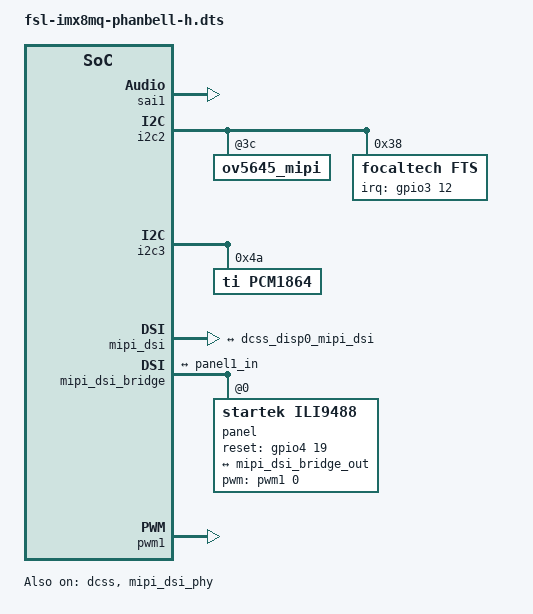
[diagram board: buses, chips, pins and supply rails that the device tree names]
/*
 * Copyright 2018 NXP
 *
 * This program is free software; you can redistribute it and/or
 * modify it under the terms of the GNU General Public License
 * as published by the Free Software Foundation; either version 2
 * of the License, or (at your option) any later version.
 *
 * This program is distributed in the hope that it will be useful,
 * but WITHOUT ANY WARRANTY; without even the implied warranty of
 * MERCHANTABILITY or FITNESS FOR A PARTICULAR PURPOSE.  See the
 * GNU General Public License for more details.
 */

#include "fsl-imx8mq-phanbell.dts"

/ {

  sound-pcm1864 {
    compatible = "fsl,imx-audio-pcm186x";
    model = "pcm1864-audio";
    cpu-dai = <&sai1>;
    cpu-master = <1>;
		audio-codec = <&pcm1864>;

		audio-routing =
			"VINL1", "ADC1 Left Capture Source",
			"VINR1", "ADC1 Left Capture Source",
			"ADC1 Left Capture Source", "ADC1",
			"VINL2", "ADC1 Right Capture Source",
			"VINR2", "ADC1 Right Capture Source",
			"ADC1 Right Capture Source", "ADC1",
			"VINL3", "ADC2 Left Capture Source",
			"VINR3", "ADC2 Left Capture Source",
			"ADC2 Left Capture Source", "ADC2",
			"VINL4", "ADC2 Right Capture Source",
			"VINR4", "ADC2 Right Capture Source",
			"ADC2 Right Capture Source", "ADC2";
  };
};

&iomuxc {
	imx8mq-phanbell {
		pinctrl_sai1: sai1grp {
			fsl,pins = <
				MX8MQ_IOMUXC_SAI1_TXFS_SAI1_TX_SYNC     0xd6
				MX8MQ_IOMUXC_SAI1_TXC_SAI1_TX_BCLK      0xd6
				MX8MQ_IOMUXC_SAI1_MCLK_SAI1_MCLK        0xd6
				MX8MQ_IOMUXC_SAI1_RXD0_SAI1_RX_DATA0    0xd6
			>;
		};
	};
};

&sai1 {
	pinctrl-names = "default";
	pinctrl-0 = <&pinctrl_sai1>;
	assigned-clocks =
		<&clk IMX8MQ_CLK_SAI1_SRC>,
		<&clk IMX8MQ_CLK_SAI1_DIV>;
	assigned-clock-parents = <&clk IMX8MQ_AUDIO_PLL1_OUT>;
	assigned-clock-rates = <0>, <24576000>;
	status = "okay";
};

&i2c2 {
	ov5645_mipi: ov5645_mipi@3c {
		ae_target = <100>;
	};
};

&i2c3 {
	status = "okay";

	pcm1864: pcm1864@4a {
		compatible = "ti,pcm1864";
		reg = <0x4a>;
		status = "okay";
	};
};


&hdmi {
	status = "disabled";
};

&hdmi_cec {
	status = "disabled";
};

&dcss {
	status = "okay";
	disp-dev = "mipi_disp";

	clocks = <&clk IMX8MQ_CLK_DISP_APB_ROOT>,
		 <&clk IMX8MQ_CLK_DISP_AXI_ROOT>,
		 <&clk IMX8MQ_CLK_DISP_RTRM_ROOT>,
		 <&clk IMX8MQ_CLK_DC_PIXEL_DIV>,
		 <&clk IMX8MQ_CLK_DUMMY>,
		 <&clk IMX8MQ_CLK_DISP_DTRC_DIV>;
	clock-names = "apb", "axi", "rtrm", "pix_div", "pix_out", "dtrc";

	assigned-clocks = <&clk IMX8MQ_CLK_DC_PIXEL_SRC>,
			  <&clk IMX8MQ_CLK_DISP_AXI_SRC>,
			  <&clk IMX8MQ_CLK_DISP_RTRM_SRC>,
			  <&clk IMX8MQ_CLK_DISP_RTRM_PRE_DIV>,
			  <&clk IMX8MQ_VIDEO_PLL1_REF_SEL>,
			  <&clk IMX8MQ_VIDEO_PLL1>;
	assigned-clock-parents = <&clk IMX8MQ_VIDEO_PLL1_OUT>,
				 <&clk IMX8MQ_SYS1_PLL_800M>,
				 <&clk IMX8MQ_SYS1_PLL_800M>,
				 <&clk IMX8MQ_VIDEO_PLL1_OUT>,
				 <&clk IMX8MQ_CLK_25M>;
	assigned-clock-rates = <600000000>,
			       <800000000>,
			       <400000000>,
			       <400000000>,
			       <0>,
			       <599999999>;

	dcss_disp0: port@0 {
		reg = <0>;

		dcss_disp0_mipi_dsi: mipi_dsi {
			remote-endpoint = <&mipi_dsi_in>;
		};
	};
};

&mipi_dsi_phy {
	status = "okay";
};

&mipi_dsi {
	status = "okay";
	assigned-clocks = <&clk IMX8MQ_CLK_DSI_PHY_REF_SRC>,
			  <&clk IMX8MQ_CLK_DSI_CORE_SRC>,
			  <&clk IMX8MQ_VIDEO_PLL1_REF_SEL>,
			  <&clk IMX8MQ_VIDEO_PLL1>;
	assigned-clock-parents = <&clk IMX8MQ_VIDEO_PLL1_OUT>,
				 <&clk IMX8MQ_SYS1_PLL_266M>,
				 <&clk IMX8MQ_CLK_25M>;
	assigned-clock-rates = <24000000>,
			       <266000000>,
			       <0>,
			       <599999999>;

	port@1 {
		mipi_dsi_in: endpoint {
			remote-endpoint = <&dcss_disp0_mipi_dsi>;
		};
	};

};

&mipi_dsi_bridge {
	status = "okay";

	panel@0 {
		compatible = "startek,ili9488";
		reg = <0>;
		pinctrl-0 = <&pinctrl_mipi_dsi_en>;
		reset-gpio = <&gpio4 19 GPIO_ACTIVE_HIGH>;
		dsi-lanes = <1>;
		panel-width-mm = <49>;
		panel-height-mm = <74>;
		pwms = <&pwm1 0 1000000 0>;
		port {
			panel1_in: endpoint {
				remote-endpoint = <&mipi_dsi_bridge_out>;
			};
		};
	};

	port@1 {
		mipi_dsi_bridge_out: endpoint {
			remote-endpoint = <&panel1_in>;
		};
	};
};

&pwm1 {
	pinctrl-names = "default";
	pinctrl-0 = <&pinctrl_bl_pwm0>;
	status = "okay";
};

&i2c2 {
	status = "okay";

	focaltech@38 {
		compatible = "focaltech,fts";
		reg = <0x38>;
		pinctrl-0 = <&pinctrl_ts_int>;
		interrupt-parent = <&gpio3>;
		interrupts = <12 0x02>;
		focaltech,panel-type = <FT6236>;
		focaltech,irq-gpio = <&gpio3 12 0x02>;
		focaltech,max-touch-number = <5>;
		focaltech,display-coords =  <0 0 320 480>;
	};
};

&iomuxc {
	imx8mq-evk {
		pinctrl_mipi_dsi_en: mipi_dsi_en {
			fsl,pins = <
				MX8MQ_IOMUXC_SAI1_TXD7_GPIO4_IO19  0x16 // reset
			>;
		};

		pinctrl_bl_pwm0: bl_pwm0 {
			fsl,pins = <
				MX8MQ_IOMUXC_GPIO1_IO01_PWM1_OUT   0x16 // backlight
			>;
		};

		pinctrl_ts_int: ts_int {
			fsl,pins = <
				MX8MQ_IOMUXC_NAND_DATA06_GPIO3_IO12   0x16 // touch screen interrupt
			>;
		};
	};
};
